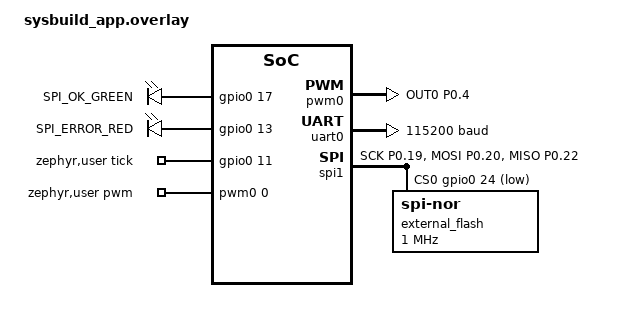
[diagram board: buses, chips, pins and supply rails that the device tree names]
#include <zephyr/dt-bindings/pwm/pwm.h>

&pinctrl {
	uart0_default: uart0_default {
		group1 {
			psels = <NRF_PSEL(UART_TX, 0, 6)>,
				<NRF_PSEL(UART_RX, 0, 8)>;
		};
	};

	uart0_sleep: uart0_sleep {
		group1 {
			psels = <NRF_PSEL(UART_RX, 0, 8)>;
			low-power-enable;
		};

		group2 {
			psels = <NRF_PSEL(UART_TX, 0, 6)>;
			low-power-enable;
			bias-pull-up;
		};
	};

	spi1_default: spi1_default {
		group1 {
			psels = <NRF_PSEL(SPIM_SCK, 0, 19)>,
				<NRF_PSEL(SPIM_MOSI, 0, 20)>,
				<NRF_PSEL(SPIM_MISO, 0, 22)>;
		};
	};

	spi1_sleep: spi1_sleep {
		group1 {
			psels = <NRF_PSEL(SPIM_SCK, 0, 19)>,
				<NRF_PSEL(SPIM_MOSI, 0, 20)>,
				<NRF_PSEL(SPIM_MISO, 0, 22)>;
			low-power-enable;
		};
	};

	/* Ciclotte brake servo signal. The board default routes PWM0 to
	 * P0.17, which is the green status LED here. */
	pwm0_default: pwm0_default {
		group1 {
			psels = <NRF_PSEL(PWM_OUT0, 0, 4)>;
		};
	};

	pwm0_sleep: pwm0_sleep {
		group1 {
			psels = <NRF_PSEL(PWM_OUT0, 0, 4)>;
			low-power-enable;
		};
	};
};

&pwm0 {
	status = "okay";
	pinctrl-0 = <&pwm0_default>;
	pinctrl-1 = <&pwm0_sleep>;
	pinctrl-names = "default", "sleep";
};

&uart0 {
	status = "okay";
	current-speed = <115200>;
	/delete-property/ hw-flow-control;
};

&spi1 {
	compatible = "nordic,nrf-spim";
	status = "okay";
	pinctrl-0 = <&spi1_default>;
	pinctrl-1 = <&spi1_sleep>;
	pinctrl-names = "default", "sleep";
	cs-gpios = <&gpio0 24 GPIO_ACTIVE_LOW>;

	external_flash: flash@0 {
		compatible = "jedec,spi-nor";
		reg = <0>;
		spi-max-frequency = <1000000>;
		jedec-id = [9d 60 14];
		size = <0x800000>;
	};
};

/ {
	chosen {
		nordic,pm-ext-flash = &external_flash;
	};

	leds {
		compatible = "gpio-leds";

		debug_led0: debug_led_0 {
			gpios = <&gpio0 17 GPIO_ACTIVE_HIGH>;
			label = "SPI_OK_GREEN";
		};

		debug_led1: debug_led_1 {
			gpios = <&gpio0 13 GPIO_ACTIVE_HIGH>;
			label = "SPI_ERROR_RED";
		};
	};

	aliases {
		debug-led0 = &debug_led0;
		debug-led1 = &debug_led1;
	};

	zephyr,user {
		/* Standard hobby servo frame: 20 ms period, 0.5-2.5 ms pulse. */
		pwms = <&pwm0 0 PWM_MSEC(20) PWM_POLARITY_NORMAL>;
		tick-gpios = <&gpio0 11 GPIO_ACTIVE_HIGH>;
	};
};
